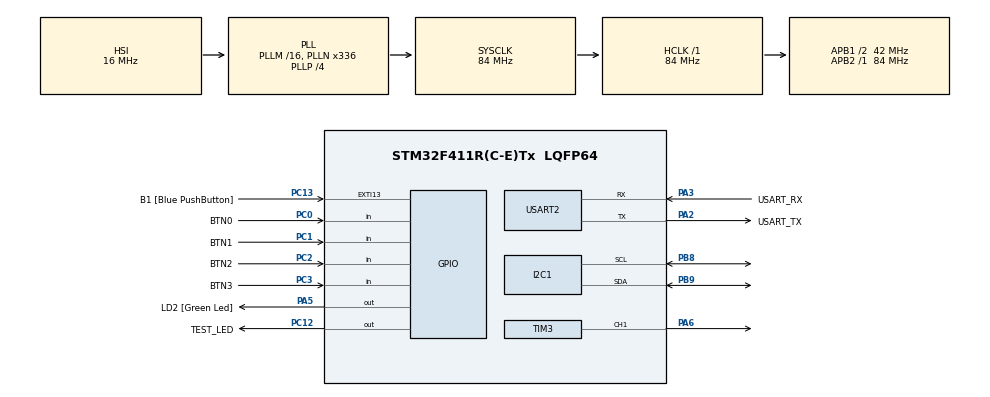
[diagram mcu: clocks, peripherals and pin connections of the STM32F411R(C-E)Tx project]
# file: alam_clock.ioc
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Mcu.Family=STM32F4
Mcu.Name=STM32F411R(C-E)Tx
Mcu.Package=LQFP64
NVIC.PriorityGroup=NVIC_PRIORITYGROUP_0
NVIC.TIM3_IRQn=true\:0\:0\:false\:false\:true\:true\:true\:true
PA13.GPIO_Label=TMS
PA13.Mode=Serial_Wire
PA13.Signal=SYS_JTMS-SWDIO
PA14.GPIO_Label=TCK
PA14.Mode=Serial_Wire
PA14.Signal=SYS_JTCK-SWCLK
PA2.GPIO_Label=USART_TX
PA2.Mode=Asynchronous
PA2.Signal=USART2_TX
PA3.GPIO_Label=USART_RX
PA3.Mode=Asynchronous
PA3.Signal=USART2_RX
PA5.GPIO_Label=LD2 [Green Led]
PA5.Signal=GPIO_Output
PA6.Signal=S_TIM3_CH1
PB3.GPIO_Label=SWO
PB3.Signal=SYS_JTDO-SWO
PB8.Mode=I2C
PB8.Signal=I2C1_SCL
PB9.Mode=I2C
PB9.Signal=I2C1_SDA
PC0.GPIO_Label=BTN0
PC0.Signal=GPIO_Input
PC1.GPIO_Label=BTN1
PC1.Signal=GPIO_Input
PC12.GPIO_Label=TEST_LED
PC12.Signal=GPIO_Output
PC13-ANTI_TAMP.GPIO_Label=B1 [Blue PushButton]
PC13-ANTI_TAMP.GPIO_ModeDefaultEXTI=GPIO_MODE_IT_FALLING
PC13-ANTI_TAMP.Signal=GPXTI13
PC14-OSC32_IN.Mode=LSE-External-Oscillator
PC14-OSC32_IN.Signal=RCC_OSC32_IN
PC15-OSC32_OUT.Mode=LSE-External-Oscillator
PC15-OSC32_OUT.Signal=RCC_OSC32_OUT
PC2.GPIO_Label=BTN2
PC2.Signal=GPIO_Input
PC3.GPIO_Label=BTN3
PC3.Signal=GPIO_Input
PH0\ -\ OSC_IN.Mode=HSE-External-Clock-Source
PH0\ -\ OSC_IN.Signal=RCC_OSC_IN
PH1\ -\ OSC_OUT.Mode=HSE-External-Clock-Source
PH1\ -\ OSC_OUT.Signal=RCC_OSC_OUT
ProjectManager.HeapSize=0x200
ProjectManager.StackSize=0x400
ProjectManager.TargetToolchain=STM32CubeIDE
RCC.48MHZClocksFreq_Value=84000000
RCC.AHBFreq_Value=84000000
RCC.APB1CLKDivider=RCC_HCLK_DIV2
RCC.APB1Freq_Value=42000000
RCC.APB1TimFreq_Value=84000000
RCC.APB2Freq_Value=84000000
RCC.APB2TimFreq_Value=84000000
RCC.CortexFreq_Value=84000000
RCC.FLatency-AdvancedSettings=FLASH_LATENCY_2
RCC.HCLKFreq_Value=84000000
RCC.HSE_VALUE=8000000
RCC.HSI_VALUE=16000000
RCC.PLLN=336
RCC.PLLP=RCC_PLLP_DIV4
RCC.SYSCLKFreq_VALUE=84000000
RCC.SYSCLKSource=RCC_SYSCLKSOURCE_PLLCLK
RCC.VCOOutputFreq_Value=336000000
SH.S_TIM3_CH1.0=TIM3_CH1,Output Compare1 CH1
TIM3.AutoReloadPreload=TIM_AUTORELOAD_PRELOAD_ENABLE
TIM3.Channel-Output\ Compare1\ CH1=TIM_CHANNEL_1
TIM3.Period=1000-1
TIM3.Prescaler=84-1
USART2.VirtualMode=VM_ASYNC
VP_TIM3_VS_ClockSourceINT.Mode=Internal
board=NUCLEO-F411RE

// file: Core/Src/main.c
/* USER CODE BEGIN Header */
/**
  ******************************************************************************
  * @file           : main.c
  * @brief          : Main program body
  ******************************************************************************
  * @attention
  *
  * Copyright (c) 2025 STMicroelectronics.
  * All rights reserved.
  *
  * This software is licensed under terms that can be found in the LICENSE file
  * in the root directory of this software component.
  * If no LICENSE file comes with this software, it is provided AS-IS.
  *
  ******************************************************************************
  */
/* USER CODE END Header */
#include "main.h"

/* USER CODE BEGIN Includes */
#include <stdio.h>
#include <string.h>
#include "clcd.h"
/* USER CODE END Includes */

/* USER CODE BEGIN PD */
#ifdef __GNUC__
/* With GCC, small printf (option LD Linker->Libraries->Small printf
   set to 'Yes') calls __io_putchar() */
#define PUTCHAR_PROTOTYPE int __io_putchar(int ch)
#else
#define PUTCHAR_PROTOTYPE int fputc(int ch, FILE *f)
#endif /* __GNUC__ */
#define true 1
#define false 0
/* USER CODE END PD */

I2C_HandleTypeDef hi2c1;

TIM_HandleTypeDef htim3;

UART_HandleTypeDef huart2;

/* USER CODE BEGIN PV */
volatile int time3SecFlag = 0;
volatile unsigned int time3SecCnt=0;
unsigned int cnt=0;
int updatTimeFlag = false;
char buff[30];
int mode=0;
int apmFlag=true;
typedef struct {
	int hour;
	int min;
	int sec;
	int msec;
	char apm;
}ATIME;
ATIME dateTime = {12,0,0,0,'A'};
ATIME atime = {0,0,0,0,'A'};
/* USER CODE END PV */

void SystemClock_Config(void);
static void MX_GPIO_Init(void);
static void MX_USART2_UART_Init(void);
static void MX_TIM3_Init(void);
static void MX_I2C1_Init(void);
/* USER CODE BEGIN PFP */
void clock_calc(ATIME *dateTime);
void clock_display(ATIME *dateTime, ATIME *atime,int mode);
void clock_set(ATIME *dateTime,ATIME *atime,int mode,int apmFlag,int keyNum);
void alarm_buzzer();
int getKeyNum();
/* USER CODE END PFP */

int main(void)
{

  /* USER CODE BEGIN 1 */
	int keyNum = 0;
  /* USER CODE END 1 */

  /* MCU Configuration--------------------------------------------------------*/

  /* Reset of all peripherals, Initializes the Flash interface and the Systick. */
  HAL_Init();

  /* Configure the system clock */
  SystemClock_Config();

  /* Initialize all configured peripherals */
  MX_GPIO_Init();
  MX_USART2_UART_Init();
  MX_TIM3_Init();
  MX_I2C1_Init();
  /* USER CODE BEGIN 2 */
  LCD_init(&hi2c1);
  printf("Main Start!!\r\n");
  if(HAL_TIM_Base_Start_IT(&htim3) != HAL_OK)
	  Error_Handler();

  /* USER CODE END 2 */

  /* Infinite loop */
  /* USER CODE BEGIN WHILE */
  while (1)
  {
	  keyNum = getKeyNum();
	  if(keyNum != 0)
	  {
			printf("keyNum : %d\r\n",keyNum);
			  if(keyNum==1)
			  {
				  if(mode==1)
				  {
					  atime.hour++;
					  if((atime.hour>12)&&(apmFlag==true))
					  {
						  atime.apm='P';
						  atime.hour=1;
						  apmFlag=false;
					  }
					  if((atime.hour>12)&&(apmFlag==false))
					  {
						  atime.apm='A';
						  atime.hour=1;
						  apmFlag=true;
					  }
				  }
				  else if(mode==2)
				  {
					  dateTime.hour++;
					  if((dateTime.hour>12)&&(apmFlag==true))
					  {
						  dateTime.apm='P';
						  dateTime.hour=1;
						  apmFlag=false;
					  }
					  if((dateTime.hour>12)&&(apmFlag==false))
					  {
						  dateTime.apm='A';
						  dateTime.hour=1;
						  apmFlag=true;
					  }
				  }
			  }
			  if(keyNum==2)
			  {
				  if(mode==1)
				  {
					  atime.min++;
					  if(atime.min>59)
					  {
						  atime.min=0;
					  }

				  }
				  if(mode==2)
				  {
					  dateTime.min++;
					  if(dateTime.min>59)
					  {
						  dateTime.min=0;
					  }
				  }
			  }
			  if(keyNum==3)
			  {
				  if(mode==1)
				  {
					  atime.sec++;
					  if(atime.sec>59)
					  {
						  atime.sec=0;
					  }

				  }
				  if(mode==2)
				  {
					  dateTime.sec++;
					  if(dateTime.sec>59)
					  {
						  dateTime.sec=0;
					  }
				  }
			  }
			  if(keyNum==4)
			  {
				  mode++;
				  printf("%d\r\n",mode);
				  if(mode>2) mode=0;
			  }
	  }

	  if(time3SecFlag && !(time3SecCnt % 1000))
	  {
		  cnt++;
		  time3SecFlag = 0;
		  clock_calc(&dateTime);
		  clock_display(&dateTime ,&atime,mode);

		  if(updatTimeFlag)
		  {
			  updatTimeFlag = false;
		  }

	  }
    /* USER CODE END WHILE */

  }
}

void SystemClock_Config(void)
{
  RCC_OscInitTypeDef RCC_OscInitStruct = {0};
  RCC_ClkInitTypeDef RCC_ClkInitStruct = {0};

  /** Configure the main internal regulator output voltage
  */
  __HAL_RCC_PWR_CLK_ENABLE();
  __HAL_PWR_VOLTAGESCALING_CONFIG(PWR_REGULATOR_VOLTAGE_SCALE1);

  /** Initializes the RCC Oscillators according to the specified parameters
  * in the RCC_OscInitTypeDef structure.
  */
  RCC_OscInitStruct.OscillatorType = RCC_OSCILLATORTYPE_HSI;
  RCC_OscInitStruct.HSIState = RCC_HSI_ON;
  RCC_OscInitStruct.HSICalibrationValue = RCC_HSICALIBRATION_DEFAULT;
  RCC_OscInitStruct.PLL.PLLState = RCC_PLL_ON;
  RCC_OscInitStruct.PLL.PLLSource = RCC_PLLSOURCE_HSI;
  RCC_OscInitStruct.PLL.PLLM = 16;
  RCC_OscInitStruct.PLL.PLLN = 336;
  RCC_OscInitStruct.PLL.PLLP = RCC_PLLP_DIV4;
  RCC_OscInitStruct.PLL.PLLQ = 4;
  if (HAL_RCC_OscConfig(&RCC_OscInitStruct) != HAL_OK)
  {
    Error_Handler();
  }

  /** Initializes the CPU, AHB and APB buses clocks
  */
  RCC_ClkInitStruct.ClockType = RCC_CLOCKTYPE_HCLK|RCC_CLOCKTYPE_SYSCLK
                              |RCC_CLOCKTYPE_PCLK1|RCC_CLOCKTYPE_PCLK2;
  RCC_ClkInitStruct.SYSCLKSource = RCC_SYSCLKSOURCE_PLLCLK;
  RCC_ClkInitStruct.AHBCLKDivider = RCC_SYSCLK_DIV1;
  RCC_ClkInitStruct.APB1CLKDivider = RCC_HCLK_DIV2;
  RCC_ClkInitStruct.APB2CLKDivider = RCC_HCLK_DIV1;

  if (HAL_RCC_ClockConfig(&RCC_ClkInitStruct, FLASH_LATENCY_2) != HAL_OK)
  {
    Error_Handler();
  }
}

static void MX_I2C1_Init(void)
{

  hi2c1.Instance = I2C1;
  hi2c1.Init.ClockSpeed = 100000;
  hi2c1.Init.DutyCycle = I2C_DUTYCYCLE_2;
  hi2c1.Init.OwnAddress1 = 0;
  hi2c1.Init.AddressingMode = I2C_ADDRESSINGMODE_7BIT;
  hi2c1.Init.DualAddressMode = I2C_DUALADDRESS_DISABLE;
  hi2c1.Init.OwnAddress2 = 0;
  hi2c1.Init.GeneralCallMode = I2C_GENERALCALL_DISABLE;
  hi2c1.Init.NoStretchMode = I2C_NOSTRETCH_DISABLE;
  if (HAL_I2C_Init(&hi2c1) != HAL_OK)
  {
    Error_Handler();
  }

}

static void MX_TIM3_Init(void)
{

  TIM_ClockConfigTypeDef sClockSourceConfig = {0};
  TIM_MasterConfigTypeDef sMasterConfig = {0};
  TIM_OC_InitTypeDef sConfigOC = {0};

  htim3.Instance = TIM3;
  htim3.Init.Prescaler = 84-1;
  htim3.Init.CounterMode = TIM_COUNTERMODE_UP;
  htim3.Init.Period = 1000-1;
  htim3.Init.ClockDivision = TIM_CLOCKDIVISION_DIV1;
  htim3.Init.AutoReloadPreload = TIM_AUTORELOAD_PRELOAD_ENABLE;
  if (HAL_TIM_Base_Init(&htim3) != HAL_OK)
  {
    Error_Handler();
  }
  sClockSourceConfig.ClockSource = TIM_CLOCKSOURCE_INTERNAL;
  if (HAL_TIM_ConfigClockSource(&htim3, &sClockSourceConfig) != HAL_OK)
  {
    Error_Handler();
  }
  if (HAL_TIM_OC_Init(&htim3) != HAL_OK)
  {
    Error_Handler();
  }
  sMasterConfig.MasterOutputTrigger = TIM_TRGO_RESET;
  sMasterConfig.MasterSlaveMode = TIM_MASTERSLAVEMODE_DISABLE;
  if (HAL_TIMEx_MasterConfigSynchronization(&htim3, &sMasterConfig) != HAL_OK)
  {
    Error_Handler();
  }
  sConfigOC.OCMode = TIM_OCMODE_TIMING;
  sConfigOC.Pulse = 0;
  sConfigOC.OCPolarity = TIM_OCPOLARITY_HIGH;
  sConfigOC.OCFastMode = TIM_OCFAST_DISABLE;
  if (HAL_TIM_OC_ConfigChannel(&htim3, &sConfigOC, TIM_CHANNEL_1) != HAL_OK)
  {
    Error_Handler();
  }
  HAL_TIM_MspPostInit(&htim3);

}

static void MX_USART2_UART_Init(void)
{

  huart2.Instance = USART2;
  huart2.Init.BaudRate = 115200;
  huart2.Init.WordLength = UART_WORDLENGTH_8B;
  huart2.Init.StopBits = UART_STOPBITS_1;
  huart2.Init.Parity = UART_PARITY_NONE;
  huart2.Init.Mode = UART_MODE_TX_RX;
  huart2.Init.HwFlowCtl = UART_HWCONTROL_NONE;
  huart2.Init.OverSampling = UART_OVERSAMPLING_16;
  if (HAL_UART_Init(&huart2) != HAL_OK)
  {
    Error_Handler();
  }

}

static void MX_GPIO_Init(void)
{
  GPIO_InitTypeDef GPIO_InitStruct = {0};

  /* GPIO Ports Clock Enable */
  __HAL_RCC_GPIOC_CLK_ENABLE();
  __HAL_RCC_GPIOH_CLK_ENABLE();
  __HAL_RCC_GPIOA_CLK_ENABLE();
  __HAL_RCC_GPIOB_CLK_ENABLE();

  /*Configure GPIO pin Output Level */
  HAL_GPIO_WritePin(LD2_GPIO_Port, LD2_Pin, GPIO_PIN_RESET);

  /*Configure GPIO pin Output Level */
  HAL_GPIO_WritePin(TEST_LED_GPIO_Port, TEST_LED_Pin, GPIO_PIN_RESET);

  /*Configure GPIO pin : B1_Pin */
  GPIO_InitStruct.Pin = B1_Pin;
  GPIO_InitStruct.Mode = GPIO_MODE_IT_FALLING;
  GPIO_InitStruct.Pull = GPIO_NOPULL;
  HAL_GPIO_Init(B1_GPIO_Port, &GPIO_InitStruct);

  /*Configure GPIO pins : BTN0_Pin BTN1_Pin BTN2_Pin BTN3_Pin */
  GPIO_InitStruct.Pin = BTN0_Pin|BTN1_Pin|BTN2_Pin|BTN3_Pin;
  GPIO_InitStruct.Mode = GPIO_MODE_INPUT;
  GPIO_InitStruct.Pull = GPIO_NOPULL;
  HAL_GPIO_Init(GPIOC, &GPIO_InitStruct);

  /*Configure GPIO pin : LD2_Pin */
  GPIO_InitStruct.Pin = LD2_Pin;
  GPIO_InitStruct.Mode = GPIO_MODE_OUTPUT_PP;
  GPIO_InitStruct.Pull = GPIO_NOPULL;
  GPIO_InitStruct.Speed = GPIO_SPEED_FREQ_LOW;
  HAL_GPIO_Init(LD2_GPIO_Port, &GPIO_InitStruct);

  /*Configure GPIO pin : TEST_LED_Pin */
  GPIO_InitStruct.Pin = TEST_LED_Pin;
  GPIO_InitStruct.Mode = GPIO_MODE_OUTPUT_PP;
  GPIO_InitStruct.Pull = GPIO_NOPULL;
  GPIO_InitStruct.Speed = GPIO_SPEED_FREQ_LOW;
  HAL_GPIO_Init(TEST_LED_GPIO_Port, &GPIO_InitStruct);

}

/* USER CODE BEGIN 4 */
/**
  * @brief  Retargets the C library printf function to the USART.
  * @param  None
  * @retval None
  */
PUTCHAR_PROTOTYPE
{
  /* Place your implementation of fputc here */
  /* e.g. write a character to the USART6 and Loop until the end of transmission */
  HAL_UART_Transmit(&huart2, (uint8_t *)&ch, 1, 0xFFFF);

  return ch;
}
void MX_GPIO_TEST_LED_ON(int pin)
{
	HAL_GPIO_WritePin(TEST_LED_GPIO_Port, pin, GPIO_PIN_SET);
}
void MX_GPIO_TEST_LED_OFF(int pin)
{
	HAL_GPIO_WritePin(TEST_LED_GPIO_Port, pin, GPIO_PIN_RESET);
}
void HAL_TIM_PeriodElapsedCallback(TIM_HandleTypeDef *htim)
{

	time3SecCnt++;
	time3SecFlag=1;
	HAL_GPIO_TogglePin(GPIOB,LD2_Pin);
}
void clock_calc(ATIME *dateTime) {
  dateTime->sec++;  // increment second

  if (dateTime->sec >= 60)  // if second = 60, second = 0
  {
    dateTime->sec = 0;
    dateTime->min++;

    if (dateTime->min >= 60)  // if minute = 60, minute = 0
    {
      dateTime->min = 0;
      dateTime->hour++;  // increment hour
      if (dateTime->hour == 24) {
        dateTime->hour = 0;
        updatTimeFlag = true;
      }
    }
  }
}
void clock_display(ATIME *dateTime,ATIME *atime,int mode)
{
	  if(mode==1)
	  {
		  sprintf(buff,"T %02d:%02d:%02d %s  ",dateTime->hour,dateTime->min,dateTime->sec,dateTime->apm=='A'? "AM":"PM");
		  printf("%s\r\n",buff);
		  LCD_writeStringXY(0, 0, buff);

		  sprintf(buff,"A %02d:%02d:%02d %s *",atime->hour,atime->min,atime->sec,atime->apm=='A'? "AM":"PM");
		  printf("%s\r\n",buff);
		  LCD_writeStringXY(1, 0, buff);
	  }
	  else if(mode==2)
	  {
		  sprintf(buff,"T %02d:%02d:%02d %s *",dateTime->hour,dateTime->min,dateTime->sec,dateTime->apm=='A'? "AM":"PM");
		  printf("%s\r\n",buff);
		  LCD_writeStringXY(0, 0, buff);

		  sprintf(buff,"A %02d:%02d:%02d %s  ",atime->hour,atime->min,atime->sec,atime->apm=='A'? "AM":"PM");
		  printf("%s\r\n",buff);
		  LCD_writeStringXY(1, 0, buff);

	  }
	  else
	  {
		  sprintf(buff,"T %02d:%02d:%02d %s  ",dateTime->hour,dateTime->min,dateTime->sec,dateTime->apm=='A'? "AM":"PM");
		  printf("%s\r\n",buff);
		  LCD_writeStringXY(0, 0, buff);

		  sprintf(buff,"A %02d:%02d:%02d %s  ",atime->hour,atime->min,atime->sec,atime->apm=='A'? "AM":"PM");
		  printf("%s\r\n",buff);
		  LCD_writeStringXY(1, 0, buff);

	  }
}
void clock_set(ATIME *dateTime, ATIME *atime, int mode, int apmFlag, int keyNum) {

	if (keyNum == 4) {
		mode++;
		printf("%d\r\n", mode);
		if (mode > 2)
			mode = 0;
		printf("keyNum : %d\r\n", keyNum);
		keyNum=getKeyNum();
		if (keyNum == 1) {
			if (mode == 1) {
				atime->hour++;
				if ((atime->hour > 12) && (apmFlag == true)) {
					atime->apm = 'P';
					atime->hour = 1;
					apmFlag = false;
				}
				if ((atime->hour > 12) && (apmFlag == false)) {
					atime->apm = 'A';
					atime->hour = 1;
					apmFlag = true;
				}
			} else if (mode == 2) {
				dateTime->hour++;
				if ((dateTime->hour > 12) && (apmFlag == true)) {
					dateTime->apm = 'P';
					dateTime->hour = 1;
					apmFlag = false;
				}
				if ((dateTime->hour > 12) && (apmFlag == false)) {
					dateTime->apm = 'A';
					dateTime->hour = 1;
					apmFlag = true;
				}
			}
		}
		if (keyNum == 2) {
			if (mode == 1) {
				atime->min++;
				if (atime->min > 59) {
					atime->min = 0;
				}

			}
			if (mode == 2) {
				dateTime->min++;
				if (dateTime->min > 59) {
					dateTime->min = 0;
				}
			}
		}
		if (keyNum == 3) {
			if (mode == 1) {
				atime->sec++;
				if (atime->sec > 59) {
					atime->sec = 0;
				}

			}
			if (mode == 2) {
				dateTime->sec++;
				if (dateTime->sec > 59) {
					dateTime->sec = 0;
				}
			}
		}
	}

}
int getKeyNum()
{
   int keyNum = 0;
   int buttonState = 0;
   static int keyNumOld = 0;
   for(int i=0;i<4;i++)
   {
        buttonState = HAL_GPIO_ReadPin(BTN0_GPIO_Port,BTN0_Pin<<i);
        if(buttonState)
        {
           keyNum = i+1;
           if(keyNum != keyNumOld)
           {
              keyNumOld = keyNum;
              return i+1;
           }
           else return 0;
        }
   }
   keyNumOld = keyNum;
   return keyNum;
}
/* USER CODE END 4 */

void Error_Handler(void)
{
  __disable_irq();
  while (1)
  {
  }
}
